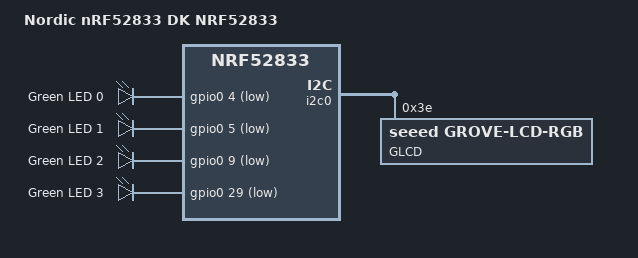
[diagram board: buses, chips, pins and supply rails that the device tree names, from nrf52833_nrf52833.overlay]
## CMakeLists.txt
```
cmake_minimum_required(VERSION 3.20.0)
find_package(Zephyr REQUIRED HINTS $ENV{ZEPHYR_BASE})

project(Grove_16_2_LCD)

target_sources(app PRIVATE src/main.c)
```

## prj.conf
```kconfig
CONFIG_STDOUT_CONSOLE=y
CONFIG_PRINTK=y

CONFIG_I2C=y

CONFIG_GROVE_LCD_RGB=y
```

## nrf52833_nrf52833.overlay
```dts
&i2c0 {
    glcd: glcd@3e {
        compatible = "seeed,grove-lcd-rgb";
        reg = <0x3e>;
        label = "GLCD";
        status = "okay";

    };

};

/* for node */

/ {
	model = "Nordic nRF52833 DK NRF52833";
    compatible = "nordic,nrf52833-dk-nrf52833";

	chosen {
		zephyr,console = &uart0;
		zephyr,shell-uart = &uart0;
		zephyr,uart-mcumgr = &uart0;
		zephyr,bt-mon-uart = &uart0;
		zephyr,bt-c2h-uart = &uart0;
		zephyr,sram = &sram0;
		zephyr,flash = &flash0;
		zephyr,code-partition = &slot0_partition;
	};

	leds {
		compatible = "gpio-leds";
		led0: led_0 {
			gpios = <&gpio0 4 GPIO_ACTIVE_LOW>;
			label = "Green LED 0";
		};
		led1: led_1 {
			gpios = <&gpio0 5 GPIO_ACTIVE_LOW>;
			label = "Green LED 1";
		};
		led2: led_2 {
			gpios = <&gpio0 9 GPIO_ACTIVE_LOW>;
			label = "Green LED 2";
		};
		led3: led_3 {
			gpios = <&gpio0 29 GPIO_ACTIVE_LOW>;
			label = "Green LED 3";
		};
	};
};
&pinctrl {
	uart0_default: uart0_default {
		group1 {
			psels = <NRF_PSEL(UART_TX, 0, 29)>, //6   for nrf52dk5832 / 5840
				<NRF_PSEL(UART_RX, 0, 28)>;   //8	  for nrf52dk5832
				
		};
	};

	uart0_sleep: uart0_sleep {
		group1 {
			psels = <NRF_PSEL(UART_TX, 0, 29)>,    //6
				<NRF_PSEL(UART_RX, 0, 28)>;        //8
				
			low-power-enable;
		};
	};
	i2c0_default: i2c0_default {
		group1 {
			psels = <NRF_PSEL(TWIM_SDA, 0, 2)>,  
				<NRF_PSEL(TWIM_SCL, 0, 3)>;      
		};
	};

	i2c0_sleep: i2c0_sleep {
		group1 {
			psels = <NRF_PSEL(TWIM_SDA, 0, 2)>,   
				<NRF_PSEL(TWIM_SCL, 0, 3)>;        
			low-power-enable;
		};
	};
};
```

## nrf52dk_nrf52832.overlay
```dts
// / {
//     chosen {
//         zephyr,display = &glcd;
//     };

// };

// &pinctrl {
//     i2c0_default: i2c0_default {
//         group1 {

//             psels = <NRF_PSEL(TWIM_SDA, 0, 26)>,
//                     <NRF_PSEL(TWIM_SCL, 0, 27)>;
//         };
//     };

//     i2c0_sleep: i2c0_sleep {
//         group1 {

//             psels = <NRF_PSEL(TWIM_SDA, 0, 26)>,
//                     <NRF_PSEL(TWIM_SCL, 0, 27)>;
//             low-power-enable;
//         };
//     };

// };

// compatible = "nordic,nrf-twim";
// status = "okay";
// clock-frequency = <I2C_BITRATE_FAST>;
// zephyr,concat-buf-size = <4096>;


&i2c0 {
    glcd: glcd@3e {
        compatible = "seeed,grove-lcd-rgb";
        reg = <0x3e>;
        label = "GLCD";
        status = "okay";

    };

};
```

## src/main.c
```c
/*  Grove 16*2 LCD interfacing using NRF52832 Board*/

#include <zephyr/kernel.h>
#include <zephyr/sys/printk.h>
#include <zephyr/device.h>
#include <zephyr/drivers/i2c.h>
#include <zephyr/drivers/misc/grove_lcd/grove_lcd.h>

#define LCD_WIDTH 16
#define LCD_HEIGHT 2

// Function to reverse a string
void reverse_string(char *str)
{

        int len = strlen(str);
        str[len] = '\0'; // Null-terminate the string
        for (int i = 0; i < len / 2; i++)
        {
                char temp = str[i];
                str[i] = str[len - 1 - i];
                str[len - 1 - i] = temp;
        }
}

int main(void)
{
        // Get the handle to the grove LCD device
        const struct device *const glcd = DEVICE_DT_GET(DT_NODELABEL(glcd));

        // Check if the device is ready
        if (!device_is_ready(glcd))
        {
                printk("Grove LCD: Device not ready.\n");
                return 0;
        }

        // Configure the LCD
        glcd_function_set(glcd, GLCD_FS_ROWS_2 | GLCD_FS_DOT_SIZE_LITTLE | GLCD_FS_8BIT_MODE);
        glcd_display_state_set(glcd, GLCD_DS_DISPLAY_ON | GLCD_DS_CURSOR_ON | GLCD_DS_BLINK_ON);

        // Original message
        char message[16] = " Hello world ";

        /* Reverse the message*/
        reverse_string(message);

        // Print reversed message on LCD
        glcd_cursor_pos_set(glcd, 0, 1); // Move cursor to second row
        glcd_print(glcd, message, strlen(message));

        return 0;
}
```
